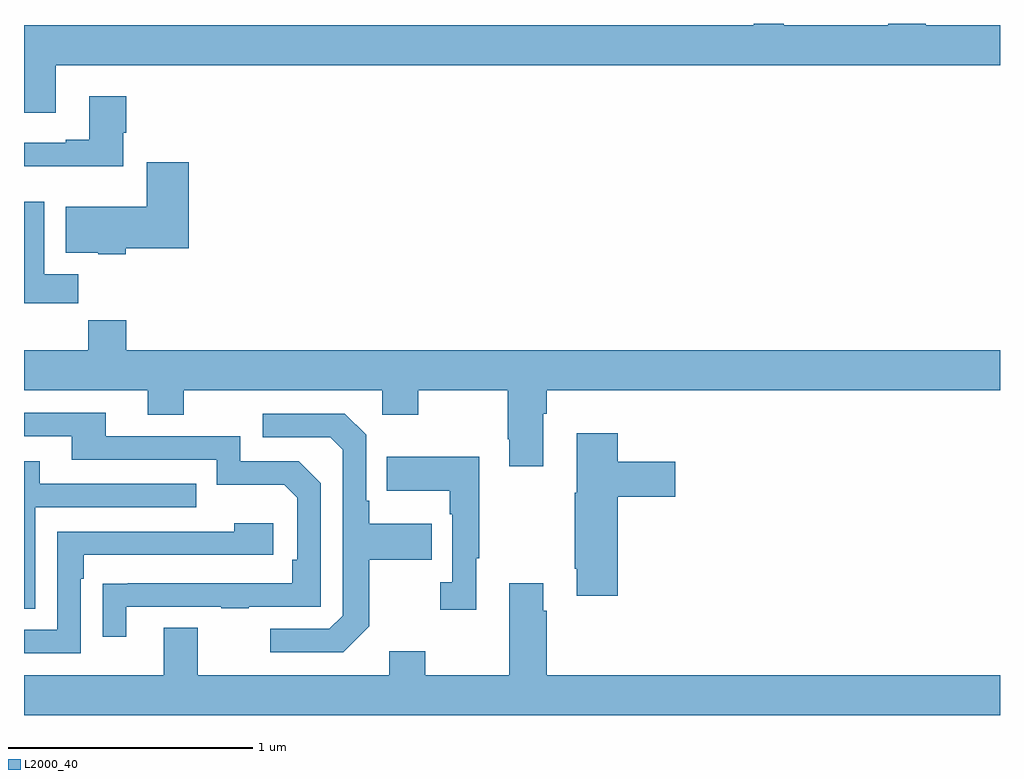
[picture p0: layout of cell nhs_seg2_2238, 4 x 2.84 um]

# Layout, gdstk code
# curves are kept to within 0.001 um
import gdstk
lib = gdstk.Library(unit=1e-6, precision=1e-09)
def P(c, l, *ps):  # polygons
    for p in ps: c.add(gdstk.Polygon(p, *l))
L2000_40 = (2000, 40)

nhs_seg2_2238 = lib.new_cell('nhs_seg2_2238')
P(nhs_seg2_2238, L2000_40, [(227.131,655.628),(231,655.628),(231,655.792),(230.696,655.792),(230.696,655.8),(230.543,655.8),(230.543,655.792),(230.113,655.792),(230.113,655.8),(229.991,655.8),(229.991,655.792),(227,655.792),(227,655.434),(227.131,655.434)],
  [(227.407,655.353),(227.42,655.353),(227.42,655.501),(227.267,655.501),(227.267,655.324),(227.171,655.324),(227.171,655.311),(227,655.311),(227,655.214),(227.407,655.214)],
  [(227.418,654.878),(227.675,654.878),(227.675,655.231),(227.504,655.231),(227.504,655.048),(227.171,655.048),(227.171,654.86),(227.304,654.86),(227.304,654.854),(227.418,654.854)],
  [(227.222,654.772),(227.083,654.772),(227.083,655.069),(227,655.069),(227,654.654),(227.222,654.654)],
  [(229.129,654.2),(229.142,654.2),(229.142,654.296),(231,654.296),(231,654.46),(227.42,654.46),(227.42,654.584),(227.263,654.584),(227.263,654.46),(227,654.46),(227,654.296),(227.507,654.296),(227.507,654.197),(227.655,654.197),(227.655,654.296),(228.468,654.296),(228.468,654.197),(228.615,654.197),(228.615,654.296),(228.982,654.296),(228.982,654.097),(228.989,654.097),(228.989,653.985),(229.129,653.985)],
  [(227.419,653.409),(227.809,653.409),(227.809,653.404),(227.921,653.404),(227.921,653.409),(228.216,653.409),(228.216,653.916),(228.126,654.006),(227.886,654.006),(227.886,654.108),(227.335,654.108),(227.335,654.204),(227,654.204),(227,654.108),(227.195,654.108),(227.195,654.012),(227.79,654.012),(227.79,653.909),(228.067,653.909),(228.12,653.856),(228.12,653.602),(228.1,653.602),(228.1,653.505),(227.323,653.504),(227.323,653.286),(227.419,653.286)],
  [(228.415,653.329),(228.415,653.602),(228.671,653.602),(228.671,653.749),(228.415,653.749),(228.415,653.845),(228.402,653.845),(228.402,654.114),(228.315,654.201),(227.979,654.201),(227.979,654.105),(228.255,654.105),(228.306,654.054),(228.306,653.373),(228.252,653.319),(228.009,653.319),(228.009,653.223),(228.309,653.223)],
  [(229.433,653.861),(229.669,653.861),(229.669,654.003),(229.433,654.003),(229.433,654.121),(229.265,654.121),(229.265,653.877),(229.258,653.877),(229.258,653.566),(229.265,653.566),(229.265,653.454),(229.433,653.454)],
  [(228.853,653.609),(228.865,653.609),(228.865,654.025),(228.487,654.025),(228.487,653.885),(228.744,653.885),(228.744,653.789),(228.756,653.789),(228.756,653.51),(228.705,653.51),(228.705,653.397),(228.853,653.397)],
  [(227.046,653.817),(227.705,653.817),(227.705,653.913),(227.065,653.913),(227.065,654.007),(227,654.007),(227,653.401),(227.046,653.401)],
  [(227.232,653.525),(227.245,653.525),(227.245,653.622),(228.022,653.622),(228.022,653.752),(227.861,653.752),(227.861,653.718),(227.136,653.718),(227.136,653.316),(227,653.316),(227,653.22),(227.232,653.22)],
  [(231,653.128),(229.142,653.128),(229.142,653.393),(229.129,653.393),(229.129,653.506),(228.989,653.506),(228.989,653.128),(228.645,653.128),(228.645,653.227),(228.497,653.227),(228.497,653.128),(227.713,653.128),(227.713,653.323),(227.573,653.323),(227.573,653.128),(227,653.128),(227,652.964),(231,652.964)])

lib.write_gds('nhs_seg2_2238.gds')
